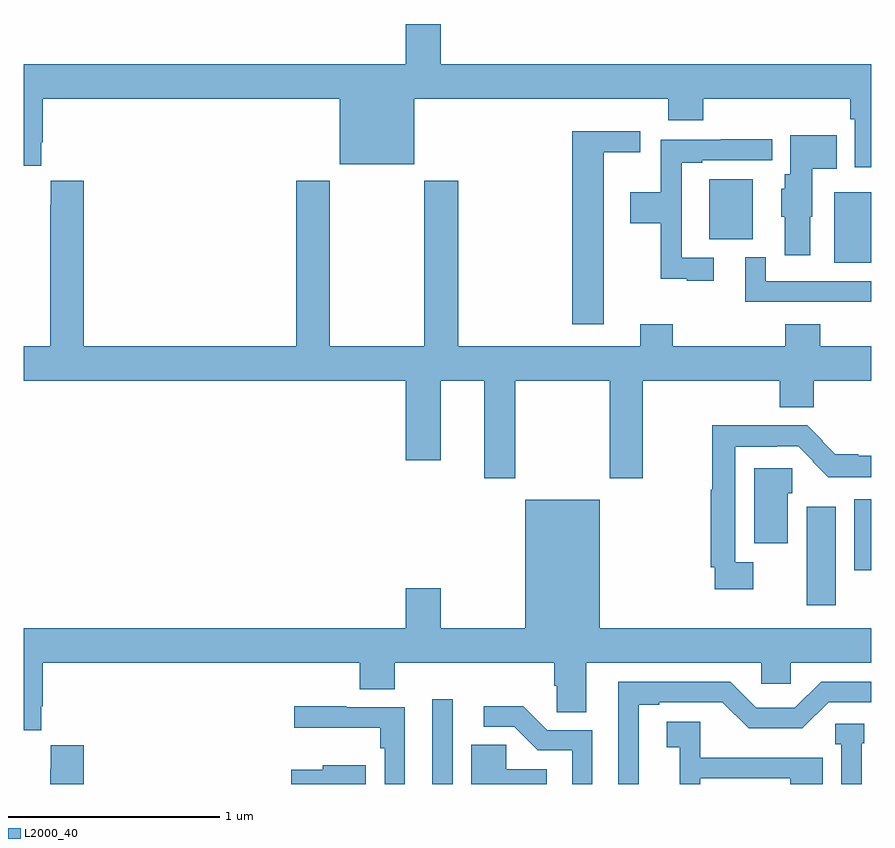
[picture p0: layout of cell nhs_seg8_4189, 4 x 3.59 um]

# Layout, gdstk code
import gdstk
lib = gdstk.Library(unit=1e-6, precision=1e-09)
def R(c, l, rs):  # rectangles x0, y0, x1, y1
    for r in rs: c.add(gdstk.rectangle(r[:2], r[2:], *l))
def P(c, l, *ps):  # polygons
    for p in ps: c.add(gdstk.Polygon(p, *l))
L2000_40 = (2000, 40)

nhs_seg8_4189 = lib.new_cell('nhs_seg8_4189')
R(nhs_seg8_4189, L2000_40, [(368.928,1143.9,369.024,1144.3), (370.697,1144.743,370.834,1145.209), (370.922,1144.91,371,1145.244), (370.826,1146.362,371,1146.694), (370.235,1146.473,370.441,1146.757)])
P(nhs_seg8_4189, L2000_40, [(371,1147.3),(368.968,1147.3),(368.968,1147.489),(368.804,1147.489),(368.804,1147.3),(367,1147.3),(367,1146.819),(367.081,1146.819),(367.081,1146.931),(367.088,1146.931),(367.088,1147.136),(368.492,1147.136),(368.492,1146.827),(368.842,1146.827),(368.842,1147.136),(370.043,1147.136),(370.043,1147.034),(370.208,1147.034),(370.208,1147.136),(370.903,1147.136),(370.903,1147.04),(370.923,1147.04),(370.923,1146.813),(371,1146.813)],
  [(369.739,1146.884),(369.91,1146.884),(369.91,1146.982),(369.59,1146.982),(369.59,1146.072),(369.739,1146.072)],
  [(370.714,1146.579),(370.723,1146.579),(370.723,1146.806),(370.838,1146.806),(370.838,1146.964),(370.619,1146.964),(370.619,1146.78),(370.592,1146.78),(370.592,1146.711),(370.577,1146.711),(370.577,1146.579),(370.592,1146.579),(370.592,1146.396),(370.714,1146.396)],
  [(370.258,1146.384),(370.107,1146.384),(370.107,1146.834),(370.204,1146.834),(370.204,1146.846),(370.534,1146.846),(370.534,1146.944),(370.291,1146.944),(370.291,1146.942),(370.006,1146.942),(370.006,1146.694),(369.864,1146.694),(369.864,1146.547),(370.006,1146.547),(370.006,1146.287),(370.13,1146.287),(370.13,1146.276),(370.258,1146.276)],
  [(369.321,1145.804),(369.766,1145.804),(369.766,1145.343),(369.921,1145.343),(369.921,1145.804),(370.568,1145.804),(370.568,1145.678),(370.729,1145.678),(370.729,1145.804),(371,1145.804),(371,1145.968),(370.76,1145.968),(370.76,1146.07),(370.595,1146.07),(370.595,1145.968),(370.064,1145.968),(370.064,1146.07),(369.911,1146.07),(369.911,1145.968),(369.05,1145.968),(369.05,1146.748),(368.89,1146.748),(368.89,1145.968),(368.445,1145.968),(368.445,1146.748),(368.285,1146.748),(368.285,1145.968),(367.283,1145.968),(367.283,1146.748),(367.127,1146.748),(367.127,1146.635),(367.123,1146.635),(367.123,1145.968),(367,1145.968),(367,1145.804),(368.804,1145.804),(368.804,1145.43),(368.968,1145.43),(368.968,1145.804),(369.173,1145.804),(369.173,1145.343),(369.321,1145.343)],
  [(371,1146.273),(370.503,1146.273),(370.503,1146.388),(370.406,1146.388),(370.406,1146.177),(371,1146.177)],
  [(370.444,1144.948),(370.359,1144.948),(370.359,1145.492),(370.556,1145.492),(370.556,1145.496),(370.656,1145.496),(370.728,1145.424),(370.725,1145.421),(370.799,1145.348),(371,1145.348),(371,1145.449),(370.939,1145.449),(370.939,1145.457),(370.831,1145.457),(370.769,1145.519),(370.771,1145.521),(370.699,1145.593),(370.251,1145.593),(370.251,1145.289),(370.243,1145.289),(370.243,1144.924),(370.263,1144.924),(370.263,1144.82),(370.444,1144.82)],
  [(370.606,1145.274),(370.629,1145.274),(370.629,1145.391),(370.448,1145.391),(370.448,1145.036),(370.606,1145.036)],
  [(367.081,1144.267),(367.088,1144.267),(367.088,1144.472),(368.585,1144.472),(368.585,1144.348),(368.75,1144.348),(368.75,1144.472),(369.503,1144.472),(369.503,1144.363),(369.516,1144.363),(369.516,1144.24),(369.655,1144.24),(369.655,1144.472),(370.482,1144.472),(370.482,1144.374),(370.62,1144.374),(370.62,1144.472),(371,1144.472),(371,1144.636),(369.718,1144.636),(369.718,1145.242),(369.368,1145.242),(369.368,1144.636),(368.968,1144.636),(368.968,1144.825),(368.804,1144.825),(368.804,1144.636),(367,1144.636),(367,1144.155),(367.081,1144.155)],
  [(369.904,1144.275),(370,1144.275),(370,1144.287),(370.298,1144.287),(370.422,1144.163),(370.676,1144.163),(370.8,1144.287),(371,1144.287),(371,1144.383),(370.764,1144.383),(370.641,1144.26),(370.458,1144.26),(370.335,1144.383),(369.807,1144.383),(369.807,1143.9),(369.904,1143.9)],
  [(369.684,1144.155),(369.471,1144.155),(369.358,1144.268),(369.171,1144.268),(369.171,1144.17),(369.315,1144.17),(369.426,1144.059),(369.588,1144.059),(369.588,1143.9),(369.684,1143.9)],
  [(368.799,1144.263),(368.521,1144.263),(368.521,1144.267),(368.277,1144.267),(368.277,1144.166),(368.683,1144.166),(368.683,1144.07),(368.703,1144.07),(368.703,1143.9),(368.799,1143.9)],
  [(370.194,1143.927),(370.618,1143.927),(370.618,1143.9),(370.771,1143.9),(370.771,1144.023),(370.661,1144.023),(370.661,1144.024),(370.194,1144.024),(370.194,1144.195),(370.035,1144.195),(370.035,1144.074),(370.097,1144.074),(370.097,1143.9),(370.194,1143.9)],
  [(370.956,1144.092),(370.969,1144.092),(370.969,1144.185),(370.83,1144.185),(370.83,1144.087),(370.86,1144.087),(370.86,1143.9),(370.956,1143.9)],
  [(369.469,1143.97),(369.277,1143.97),(369.277,1144.085),(369.113,1144.085),(369.113,1143.9),(369.469,1143.9)],
  [(367.283,1144.084),(367.127,1144.084),(367.127,1143.971),(367.123,1143.971),(367.123,1143.9),(367.283,1143.9)],
  [(368.614,1143.988),(368.412,1143.988),(368.412,1143.967),(368.262,1143.967),(368.262,1143.9),(368.614,1143.9)])

lib.write_gds('nhs_seg8_4189.gds')
